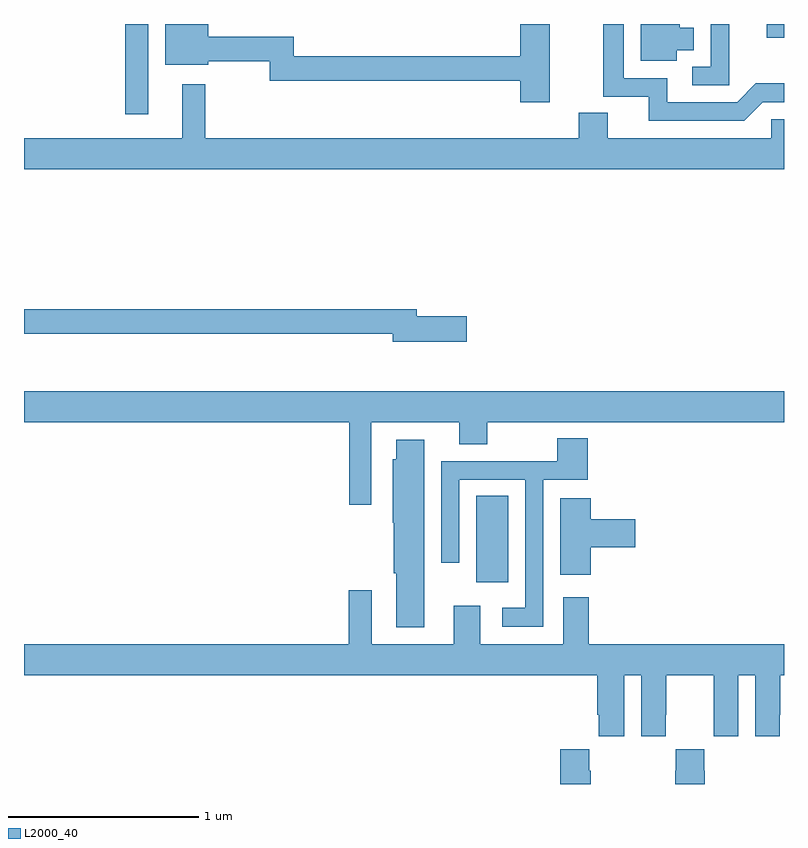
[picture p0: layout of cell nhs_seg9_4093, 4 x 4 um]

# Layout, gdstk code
import gdstk
lib = gdstk.Library(unit=1e-6, precision=1e-09)
def R(c, l, rs):  # rectangles x0, y0, x1, y1
    for r in rs: c.add(gdstk.rectangle(r[:2], r[2:], *l))
def P(c, l, *ps):  # polygons
    for p in ps: c.add(gdstk.Polygon(p, *l))
L2000_40 = (2000, 40)

nhs_seg9_4093 = lib.new_cell('nhs_seg9_4093')
R(nhs_seg9_4093, L2000_40, [(347.381,1211.562,347.548,1212.017), (345.534,1214.025,345.655,1214.5), (348.91,1214.427,349,1214.5)])
P(nhs_seg9_4093, L2000_40, [(348.888,1214.088),(349,1214.088),(349,1214.187),(348.852,1214.187),(348.753,1214.088),(348.385,1214.088),(348.385,1214.214),(348.156,1214.214),(348.156,1214.5),(348.048,1214.5),(348.048,1214.118),(348.287,1214.118),(348.287,1213.992),(348.792,1213.992)],
  [(348.713,1214.5),(348.615,1214.5),(348.615,1214.274),(348.516,1214.274),(348.516,1214.178),(348.713,1214.178)],
  [(347.766,1214.5),(347.612,1214.5),(347.612,1214.33),(346.421,1214.33),(346.421,1214.432),(345.97,1214.432),(345.97,1214.5),(345.743,1214.5),(345.743,1214.285),(345.97,1214.285),(345.97,1214.304),(346.293,1214.304),(346.293,1214.202),(347.612,1214.202),(347.612,1214.088),(347.766,1214.088)],
  [(348.436,1214.363),(348.526,1214.363),(348.526,1214.479),(348.451,1214.479),(348.451,1214.5),(348.245,1214.5),(348.245,1214.306),(348.436,1214.306)],
  [(349,1213.998),(348.933,1213.998),(348.933,1213.9),(348.073,1213.9),(348.073,1214.033),(347.921,1214.033),(347.921,1213.9),(345.955,1213.9),(345.955,1214.182),(345.833,1214.182),(345.833,1213.9),(345,1213.9),(345,1213.736),(349,1213.736)],
  [(347.329,1212.962),(347.068,1212.962),(347.068,1212.998),(345,1212.998),(345,1212.87),(346.94,1212.87),(346.94,1212.827),(347.329,1212.827)],
  [(346.827,1212.404),(347.291,1212.404),(347.291,1212.287),(347.439,1212.287),(347.439,1212.404),(349,1212.404),(349,1212.568),(345,1212.568),(345,1212.404),(346.711,1212.404),(346.711,1211.97),(346.827,1211.97)],
  [(347.733,1212.102),(347.966,1212.102),(347.966,1212.319),(347.806,1212.319),(347.806,1212.2),(347.54,1212.2),(347.54,1212.198),(347.196,1212.198),(347.196,1211.664),(347.292,1211.664),(347.292,1212.102),(347.637,1212.102),(347.637,1211.428),(347.517,1211.428),(347.517,1211.327),(347.733,1211.327)],
  [(347.107,1212.313),(346.958,1212.313),(346.958,1212.21),(346.94,1212.21),(346.94,1211.874),(346.946,1211.874),(346.946,1211.608),(346.958,1211.608),(346.958,1211.325),(347.107,1211.325)],
  [(347.984,1211.747),(348.217,1211.747),(348.217,1211.894),(347.984,1211.894),(347.984,1212.004),(347.822,1212.004),(347.822,1211.601),(347.984,1211.601)],
  [(348.16,1211.072),(348.248,1211.072),(348.248,1210.752),(348.378,1210.752),(348.378,1210.864),(348.379,1210.864),(348.379,1211.072),(348.629,1211.072),(348.629,1210.864),(348.63,1210.864),(348.63,1210.752),(348.76,1210.752),(348.76,1211.072),(348.848,1211.072),(348.848,1210.752),(348.978,1210.752),(348.978,1210.864),(348.979,1210.864),(348.979,1211.072),(349,1211.072),(349,1211.236),(347.972,1211.236),(347.972,1211.482),(347.837,1211.482),(347.837,1211.236),(347.401,1211.236),(347.401,1211.437),(347.261,1211.437),(347.261,1211.236),(346.831,1211.236),(346.831,1211.521),(346.71,1211.521),(346.71,1211.236),(345,1211.236),(345,1211.072),(348.017,1211.072),(348.017,1210.864),(348.026,1210.864),(348.026,1210.752),(348.16,1210.752)],
  [(348.582,1210.571),(348.579,1210.571),(348.579,1210.684),(348.429,1210.684),(348.429,1210.571),(348.427,1210.571),(348.427,1210.5),(348.582,1210.5)],
  [(347.982,1210.571),(347.975,1210.571),(347.975,1210.684),(347.822,1210.684),(347.822,1210.5),(347.982,1210.5)])

lib.write_gds('nhs_seg9_4093.gds')
